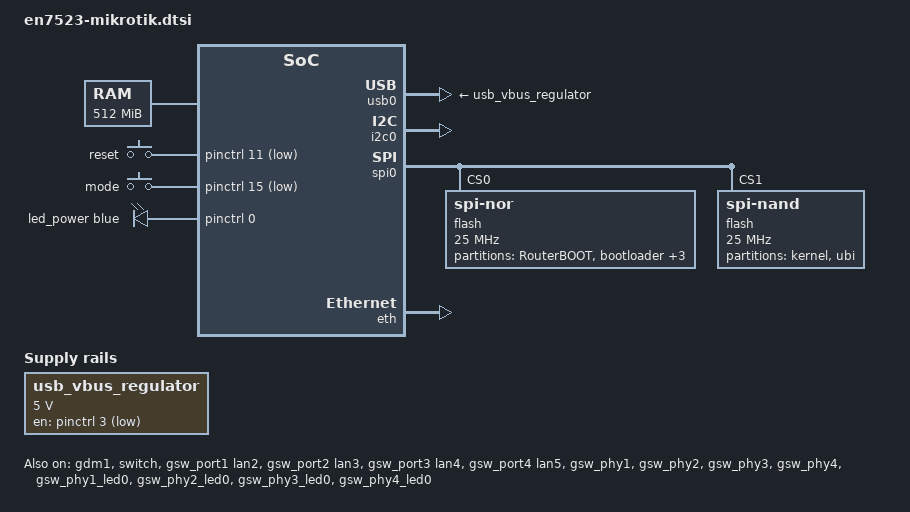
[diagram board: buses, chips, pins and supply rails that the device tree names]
/* SPDX-License-Identifier: GPL-2.0-or-later OR MIT */
/dts-v1/;

#include <dt-bindings/leds/common.h>
#include <dt-bindings/gpio/gpio.h>
#include <dt-bindings/input/input.h>
#include "en7523.dtsi"

/ {
	chosen {
		/* Skip the first 2 MiB reserved by the firmware boot chain. */
		linux,usable-memory-range = <0x80200000 0x1fe00000>;
		bootargs = "console=ttyS0,115200n8 earlycon ubi.mtd=ubi ubi.block=0,rootfs root=/dev/ubiblock0_0 rootfstype=squashfs rootwait";
		stdout-path = "serial0:115200n8";
	};

	memory@80000000 {
		device_type = "memory";
		reg = <0x80000000 0x20000000>;
	};

	aliases {
		serial0 = &uart1;
		led-boot = &led_power;
		led-failsafe = &led_power;
		led-upgrade = &led_power;
		led-running = &led_power;
	};

	btns: keys {
		compatible = "gpio-keys-polled";
		poll-interval = <100>;

		reset {
			label = "reset";
			linux,code = <KEY_RESTART>;
			debounce-interval = <60>;
			gpios = <&pinctrl 11 GPIO_ACTIVE_LOW>;
		};

		mode {
			label = "mode";
			linux,code = <BTN_0>;
			debounce-interval = <60>;
			gpios = <&pinctrl 15 GPIO_ACTIVE_LOW>;
		};
	};

	leds: leds {
		compatible = "gpio-leds";

		led_power: led@0 {
			color = <LED_COLOR_ID_BLUE>;
			function = LED_FUNCTION_STATUS;
			function-enumerator = <0>;
			gpios = <&pinctrl 0 GPIO_ACTIVE_HIGH>;
		};
	};

	usb_vbus_regulator: regulator-usb-vbus {
		compatible = "regulator-fixed";
		regulator-name = "usb_vbus";
		regulator-min-microvolt = <5000000>;
		regulator-max-microvolt = <5000000>;
		gpios = <&pinctrl 3 GPIO_ACTIVE_LOW>;
		regulator-boot-on;
	};
};

&usb0 {
	status = "okay";
	vbus-supply = <&usb_vbus_regulator>;
};

&i2c0 {
	status = "okay";
};

&spi0 {
	num-cs = <2>;
	airoha,cs-mux-gpios = <&pinctrl 1 GPIO_ACTIVE_HIGH>;

	flash@0 {
		reg = <0>;
		compatible = "jedec,spi-nor";
		spi-max-frequency = <25000000>;
		spi-tx-bus-width = <1>;
		spi-rx-bus-width = <2>;

		partitions {
			compatible = "fixed-partitions";
			#address-cells = <1>;
			#size-cells = <1>;

			partition@0 {
				compatible = "mikrotik,routerboot-partitions";
				#address-cells = <1>;
				#size-cells = <1>;
				label = "RouterBOOT";
				reg = <0x000000 0x100000>;

				partition@0 {
					label = "bootloader";
					reg = <0x000000 0x07c000>;
					read-only;
				};

				hard_config: partition@7c000 {
					label = "hard_config";
					reg = <0x07c000 0x004000>;
					read-only;

					nvmem-layout {
						compatible = "mikrotik,routerboot-nvmem";

						macaddr_hard: base-mac-address {
							#nvmem-cell-cells = <1>;
						};
					};
				};

				partition@80000 {
					label = "bios";
					reg = <0x080000 0x010000>;
					read-only;
				};

				soft_config: partition@90000 {
					label = "soft_config";
					reg = <0x090000 0x070000>;
				};
			};
		};
	};

	flash@1 {
		reg = <1>;
		compatible = "spi-nand";
		spi-max-frequency = <25000000>;
		spi-tx-bus-width = <1>;
		spi-rx-bus-width = <2>;

		partitions {
			compatible = "fixed-partitions";
			#address-cells = <1>;
			#size-cells = <1>;

			partition@0 {
				label = "kernel";
				reg = <0x00000000 0x00800000>;
			};

			partition@800000 {
				label = "ubi";
				reg = <0x00800000 0x00000000>;
			};
		};
	};
};

&npu {
	status = "disabled";
};

&eth {
	status = "okay";
};

&gdm1 {
	status = "okay";
	nvmem-cells = <&macaddr_hard 1>;
	nvmem-cell-names = "mac-address";
};

&switch {
	status = "okay";

	pinctrl-names = "default";
	pinctrl-0 = <&mdio_pins>;
};

&gsw_port1 {
	label = "lan2";
	status = "okay";
	nvmem-cells = <&macaddr_hard 1>;
	nvmem-cell-names = "mac-address";
};

&gsw_port2 {
	label = "lan3";
	status = "okay";
	nvmem-cells = <&macaddr_hard 2>;
	nvmem-cell-names = "mac-address";
};

&gsw_port3 {
	label = "lan4";
	status = "okay";
	nvmem-cells = <&macaddr_hard 3>;
	nvmem-cell-names = "mac-address";
};

&gsw_port4 {
	label = "lan5";
	status = "okay";
	nvmem-cells = <&macaddr_hard 4>;
	nvmem-cell-names = "mac-address";
};

&gsw_phy1 {
	status = "okay";
};

&gsw_phy2 {
	status = "okay";
};

&gsw_phy3 {
	status = "okay";
};

&gsw_phy4 {
	status = "okay";
};

&gsw_phy1_led0 {
	status = "okay";
	color = <LED_COLOR_ID_GREEN>;
};

&gsw_phy2_led0 {
	status = "okay";
	color = <LED_COLOR_ID_GREEN>;
};

&gsw_phy3_led0 {
	status = "okay";
	color = <LED_COLOR_ID_GREEN>;
};

&gsw_phy4_led0 {
	status = "okay";
	color = <LED_COLOR_ID_GREEN>;
};
